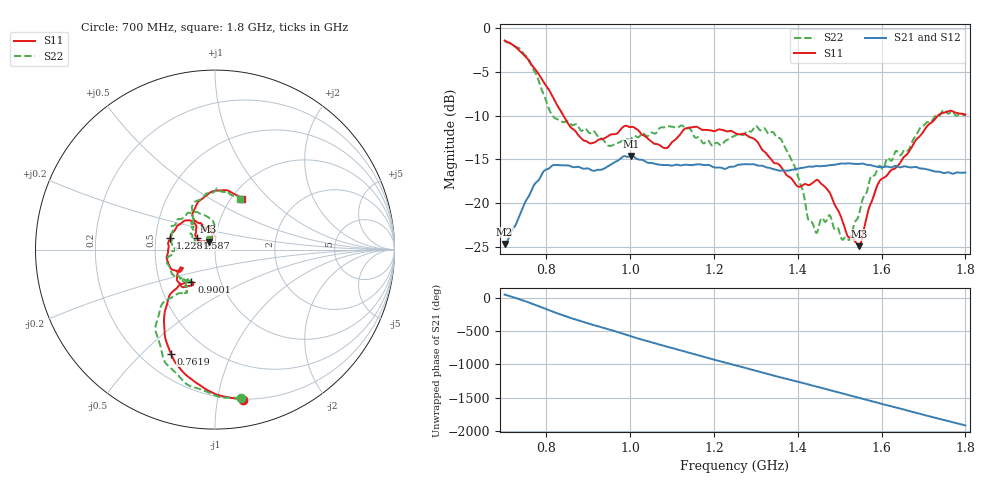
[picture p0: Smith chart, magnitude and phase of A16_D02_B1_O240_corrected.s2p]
! Created with skrf 1.9.0 (http://scikit-rf.org).
# Hz S RI R 50.0
!freq ReS11 ImS11 ReS21 ImS21 ReS12 ImS12 ReS22 ImS22
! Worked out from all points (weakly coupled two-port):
!   1601 points, 700 MHz to 1.8 GHz, reference 50 ohm
!   highest |S21| = -14.61 dB at 1.002 GHz (marker M1); lowest = -24.7 dB at 700 MHz (marker M2)
!   lowest |S11| = -24.9 dB at 1.546 GHz (marker M3), VSWR 1.12, Z = 46.4 + j4.11 ohm
!   |S11| at or under -10 dB: 840.3 MHz to 1.734 GHz (894 MHz wide, 69.4 % of centre)
!   |S22| runs from -24.2 to -1.5 dB; largest |S21 - S12| = 0.0035
!   S11 on the Smith chart (normalised r, x): 700 MHz: 0.20, -1.19; 761.9 MHz: 0.32, -0.61; 900.1 MHz: 0.72, -0.27; 1.228 GHz: 0.60, +0.08; 1.587 GHz: 0.81, +0.11; 1.8 GHz: 1.12, +0.70
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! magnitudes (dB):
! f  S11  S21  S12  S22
! 700 MHz  -1.4  -24.7  -24.4  -1.5
! 761.9 MHz  -4.0  -18.8  -18.7  -4.0
! 814.1 MHz  -7.8  -15.7  -15.7  -10.0
! 883.6 MHz  -12.6  -16.0  -15.9  -11.7
! 900.1 MHz  -13.1  -16.0  -16.1  -11.9
! 950.9 MHz  -12.2  -15.7  -15.7  -13.5
! 1.002 GHz  -11.3  -14.6  -14.7  -12.6
! 1.067 GHz  -13.3  -15.6  -15.5  -11.6
! 1.138 GHz  -11.4  -15.6  -15.6  -11.5
! 1.228 GHz  -11.8  -16.1  -16.0  -12.8
! 1.25 GHz  -12.0  -15.8  -15.7  -12.3
! 1.3 GHz  -12.8  -15.6  -15.6  -11.2
! 1.359 GHz  -15.8  -16.3  -16.2  -12.6
! 1.394 GHz  -17.8  -16.1  -16.1  -16.0
! 1.434 GHz  -17.7  -15.8  -15.8  -22.2
! 1.473 GHz  -18.6  -15.7  -15.7  -21.5
! 1.521 GHz  -23.9  -15.4  -15.5  -24.2
! 1.546 GHz  -24.9  -15.5  -15.5  -21.2
! 1.587 GHz  -18.3  -15.8  -15.8  -16.5
! 1.617 GHz  -16.5  -15.8  -15.8  -14.9
! 1.737 GHz  -9.9  -16.4  -16.5  -10.0
! 1.8 GHz  -9.9  -16.5  -16.5  -10.0
